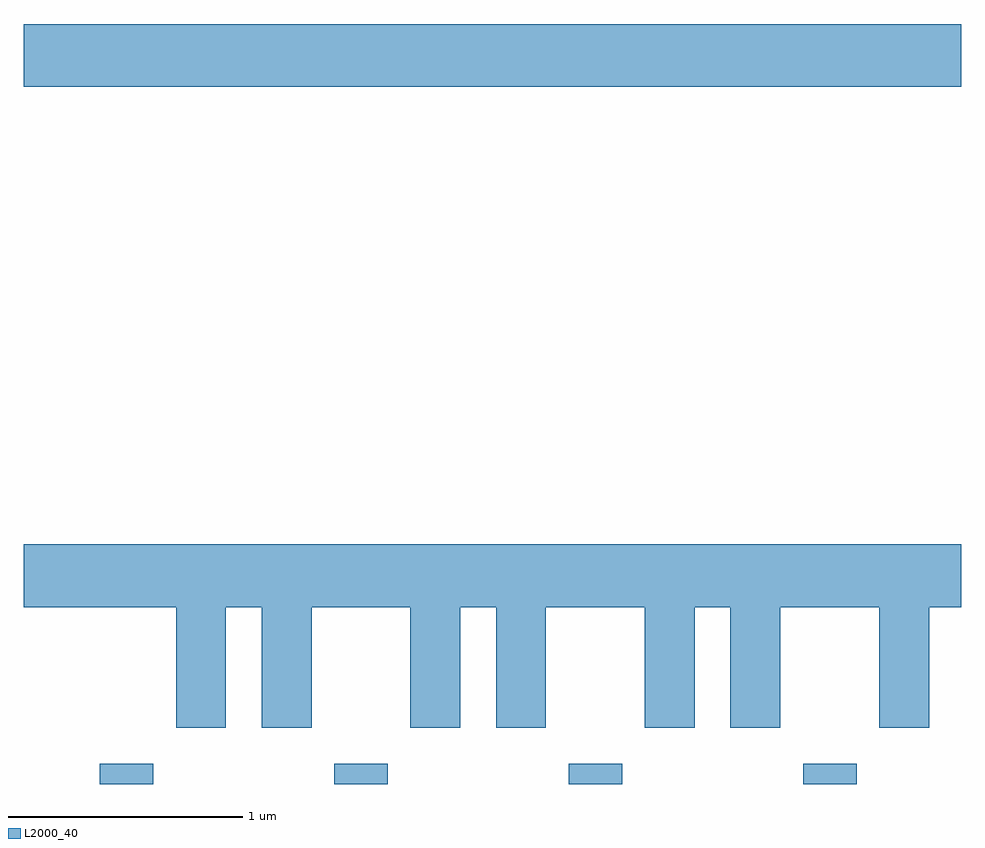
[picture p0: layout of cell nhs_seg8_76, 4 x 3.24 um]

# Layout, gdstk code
import gdstk
lib = gdstk.Library(unit=1e-6, precision=1e-09)
def R(c, l, rs):  # rectangles x0, y0, x1, y1
    for r in rs: c.add(gdstk.rectangle(r[:2], r[2:], *l))
def A(c, l, x, y, w, h, nx, ny, dx, dy):  # array of equal rectangles
    R(c, l, [(x+i*dx, y+j*dy, x+i*dx+w, y+j*dy+h) for i in range(nx) for j in range(ny)])
def P(c, l, *ps):  # polygons
    for p in ps: c.add(gdstk.Polygon(p, *l))
L2000_40 = (2000, 40)

nhs_seg8_76 = lib.new_cell('nhs_seg8_76')
A(nhs_seg8_76, L2000_40, 187.936, 1822.342, 0.228, 0.087, 4, 1, 1, 0)
R(nhs_seg8_76, L2000_40, [(187.611,1825.316,191.611,1825.584)])
P(nhs_seg8_76, L2000_40, [(188.474,1823.096),(188.626,1823.096),(188.626,1822.581),(188.839,1822.581),(188.839,1823.096),(189.261,1823.096),(189.261,1822.581),(189.474,1822.581),(189.474,1823.096),(189.626,1823.096),(189.626,1822.581),(189.839,1822.581),(189.839,1823.096),(190.261,1823.096),(190.261,1822.581),(190.474,1822.581),(190.474,1823.096),(190.626,1823.096),(190.626,1822.581),(190.839,1822.581),(190.839,1823.096),(191.261,1823.096),(191.261,1822.581),(191.474,1822.581),(191.474,1823.096),(191.611,1823.096),(191.611,1823.364),(187.611,1823.364),(187.611,1823.096),(188.261,1823.096),(188.261,1822.581),(188.474,1822.581)])

lib.write_gds('nhs_seg8_76.gds')
